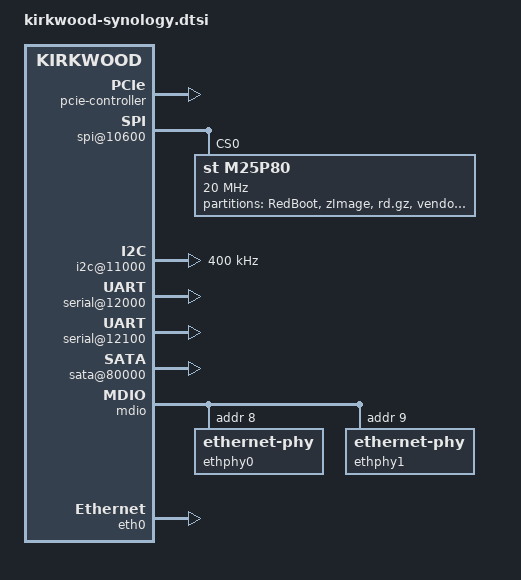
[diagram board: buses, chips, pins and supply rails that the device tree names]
/*
 * Nodes for Marvell 628x Synology devices
 *
 * Andrew Lunn <andrew@lunn.ch>
 * Ben Peddell <klightspeed@killerwolves.net>
 *
 * This file is licensed under the terms of the GNU General Public
 * License version 2.  This program is licensed "as is" without any
 * warranty of any kind, whether express or implied.
 */

/ {
	mbus {
		pcie-controller {
			status = "okay";

			pcie@1,0 {
				status = "okay";
			};

			pcie2: pcie@2,0 {
				status = "disabled";
			};
		};
	};

	ocp@f1000000 {
		pinctrl: pinctrl@10000 {
			pmx_alarmled_12: pmx-alarmled-12 {
				marvell,pins = "mpp12";
				marvell,function = "gpio";
			};

			pmx_fanctrl_15: pmx-fanctrl-15 {
				marvell,pins = "mpp15";
				marvell,function = "gpio";
			};

			pmx_fanctrl_16: pmx-fanctrl-16 {
				marvell,pins = "mpp16";
				marvell,function = "gpio";
			};

			pmx_fanctrl_17: pmx-fanctrl-17 {
				marvell,pins = "mpp17";
				marvell,function = "gpio";
			};

			pmx_fanalarm_18: pmx-fanalarm-18 {
				marvell,pins = "mpp18";
				marvell,function = "gpo";
			};

			pmx_hddled_20: pmx-hddled-20 {
				marvell,pins = "mpp20";
				marvell,function = "gpio";
			};

			pmx_hddled_21: pmx-hddled-21 {
				marvell,pins = "mpp21";
				marvell,function = "gpio";
			};

			pmx_hddled_22: pmx-hddled-22 {
				marvell,pins = "mpp22";
				marvell,function = "gpio";
			};

			pmx_hddled_23: pmx-hddled-23 {
				marvell,pins = "mpp23";
				marvell,function = "gpio";
			};

			pmx_hddled_24: pmx-hddled-24 {
				marvell,pins = "mpp24";
				marvell,function = "gpio";
			};

			pmx_hddled_25: pmx-hddled-25 {
				marvell,pins = "mpp25";
				marvell,function = "gpio";
			};

			pmx_hddled_26: pmx-hddled-26 {
				marvell,pins = "mpp26";
				marvell,function = "gpio";
			};

			pmx_hddled_27: pmx-hddled-27 {
				marvell,pins = "mpp27";
				marvell,function = "gpio";
			};

			pmx_hddled_28: pmx-hddled-28 {
				marvell,pins = "mpp28";
				marvell,function = "gpio";
			};

			pmx_hdd1_pwr_29: pmx-hdd1-pwr-29 {
				marvell,pins = "mpp29";
				marvell,function = "gpio";
			};

			pmx_hdd1_pwr_30: pmx-hdd-pwr-30 {
				marvell,pins = "mpp30";
				marvell,function = "gpio";
			};

			pmx_hdd2_pwr_31: pmx-hdd2-pwr-31 {
				marvell,pins = "mpp31";
				marvell,function = "gpio";
			};

			pmx_fanctrl_32: pmx-fanctrl-32 {
				marvell,pins = "mpp32";
				marvell,function = "gpio";
			};

			pmx_fanctrl_33: pmx-fanctrl-33 {
				marvell,pins = "mpp33";
				marvell,function = "gpo";
			};

			pmx_fanctrl_34: pmx-fanctrl-34 {
				marvell,pins = "mpp34";
				marvell,function = "gpio";
			};

			pmx_hdd2_pwr_34: pmx-hdd2-pwr-34 {
				marvell,pins = "mpp34";
				marvell,function = "gpio";
			};

			pmx_fanalarm_35: pmx-fanalarm-35 {
				marvell,pins = "mpp35";
				marvell,function = "gpio";
			};

			pmx_hddled_36: pmx-hddled-36 {
				marvell,pins = "mpp36";
				marvell,function = "gpio";
			};

			pmx_hddled_37: pmx-hddled-37 {
				marvell,pins = "mpp37";
				marvell,function = "gpio";
			};

			pmx_hddled_38: pmx-hddled-38 {
				marvell,pins = "mpp38";
				marvell,function = "gpio";
			};

			pmx_hddled_39: pmx-hddled-39 {
				marvell,pins = "mpp39";
				marvell,function = "gpio";
			};

			pmx_hddled_40: pmx-hddled-40 {
				marvell,pins = "mpp40";
				marvell,function = "gpio";
			};

			pmx_hddled_41: pmx-hddled-41 {
				marvell,pins = "mpp41";
				marvell,function = "gpio";
			};

			pmx_hddled_42: pmx-hddled-42 {
				marvell,pins = "mpp42";
				marvell,function = "gpio";
			};

			pmx_hddled_43: pmx-hddled-43 {
				marvell,pins = "mpp43";
				marvell,function = "gpio";
			};

			pmx_hddled_44: pmx-hddled-44 {
				marvell,pins = "mpp44";
				marvell,function = "gpio";
			};

			pmx_hddled_45: pmx-hddled-45 {
				marvell,pins = "mpp45";
				marvell,function = "gpio";
			};

			pmx_hdd3_pwr_44: pmx-hdd3-pwr-44 {
				marvell,pins = "mpp44";
				marvell,function = "gpio";
			};

			pmx_hdd4_pwr_45: pmx-hdd4-pwr-45 {
				marvell,pins = "mpp45";
				marvell,function = "gpio";
			};

			pmx_fanalarm_44: pmx-fanalarm-44 {
				marvell,pins = "mpp44";
				marvell,function = "gpio";
			};

			pmx_fanalarm_45: pmx-fanalarm-45 {
				marvell,pins = "mpp45";
				marvell,function = "gpio";
			};
		};

		rtc@10300 {
			status = "disabled";
		};

		spi@10600 {
			status = "okay";
			pinctrl-0 = <&pmx_spi>;
			pinctrl-names = "default";

			m25p80@0 {
				#address-cells = <1>;
				#size-cells = <1>;
				compatible = "st,m25p80";
				reg = <0>;
				spi-max-frequency = <20000000>;
				mode = <0>;

				partition@00000000 {
					reg = <0x00000000 0x00080000>;
					label = "RedBoot";
				};

				partition@00080000 {
					reg = <0x00080000 0x00200000>;
					label = "zImage";
				};

				partition@00280000 {
					reg = <0x00280000 0x00140000>;
					label = "rd.gz";
				};

				partition@003c0000 {
					reg = <0x003c0000 0x00010000>;
					label = "vendor";
				};

				partition@003d0000 {
					reg = <0x003d0000 0x00020000>;
					label = "RedBoot config";
				};

				partition@003f0000 {
					reg = <0x003f0000 0x00010000>;
					label = "FIS directory";
				};
			};
		};

		i2c@11000 {
			status = "okay";
			clock-frequency = <400000>;
			pinctrl-0 = <&pmx_twsi0>;
			pinctrl-names = "default";

			rs5c372: rs5c372@32 {
				status = "disabled";
				compatible = "ricoh,rs5c372";
				reg = <0x32>;
			};

			s35390a: s35390a@30 {
				status = "disabled";
				compatible = "ssi,s35390a";
				reg = <0x30>;
			};
		};

		serial@12000 {
			status = "okay";
			pinctrl-0 = <&pmx_uart0>;
			pinctrl-names = "default";
		};

		serial@12100 {
			status = "okay";
			pinctrl-0 = <&pmx_uart1>;
			pinctrl-names = "default";
		};

		poweroff@12100 {
			compatible = "synology,power-off";
			reg = <0x12100 0x100>;
			clocks = <&gate_clk 7>;
		};

		sata@80000 {
			pinctrl-0 = <&pmx_sata0 &pmx_sata1>;
			pinctrl-names = "default";
			status = "okay";
			nr-ports = <2>;
		};
	};

	gpio-fan-150-32-35 {
		status = "disabled";
		compatible = "gpio-fan";
		pinctrl-0 = <&pmx_fanctrl_32 &pmx_fanctrl_33 &pmx_fanctrl_34
		             &pmx_fanalarm_35>;
		pinctrl-names = "default";
		gpios = <&gpio1 0 GPIO_ACTIVE_HIGH
			 &gpio1 1 GPIO_ACTIVE_HIGH
			 &gpio1 2 GPIO_ACTIVE_HIGH>;
		gpio-fan,speed-map = <    0 0
				       2200 1
				       2500 2
				       3000 4
				       3300 3
				       3700 5
				       3800 6
				       4200 7 >;
	};

	gpio-fan-150-15-18 {
		status = "disabled";
		compatible = "gpio-fan";
		pinctrl-0 = <&pmx_fanctrl_15 &pmx_fanctrl_16 &pmx_fanctrl_17
		             &pmx_fanalarm_18>;
		pinctrl-names = "default";
		gpios = <&gpio0 15 GPIO_ACTIVE_HIGH
			 &gpio0 16 GPIO_ACTIVE_HIGH
			 &gpio0 17 GPIO_ACTIVE_HIGH>;
		alarm-gpios = <&gpio0 18 GPIO_ACTIVE_HIGH>;
		gpio-fan,speed-map = <    0 0
				       2200 1
				       2500 2
				       3000 4
				       3300 3
				       3700 5
				       3800 6
				       4200 7 >;
	};

	gpio-fan-100-32-35 {
		status = "disabled";
		compatible = "gpio-fan";
		pinctrl-0 = <&pmx_fanctrl_32 &pmx_fanctrl_33 &pmx_fanctrl_34
		             &pmx_fanalarm_35>;
		pinctrl-names = "default";
		gpios = <&gpio1 0 GPIO_ACTIVE_HIGH
			 &gpio1 1 GPIO_ACTIVE_HIGH
			 &gpio1 2 GPIO_ACTIVE_HIGH>;
		alarm-gpios = <&gpio1 3 GPIO_ACTIVE_HIGH>;
		gpio-fan,speed-map = <    0 0
				       2500 1
				       3100 2
				       3800 3
				       4600 4
				       4800 5
				       4900 6
				       5000 7 >;
	};

	gpio-fan-100-15-18 {
		status = "disabled";
		compatible = "gpio-fan";
		pinctrl-0 = <&pmx_fanctrl_15 &pmx_fanctrl_16 &pmx_fanctrl_17
		             &pmx_fanalarm_18>;
		pinctrl-names = "default";
		gpios = <&gpio0 15 GPIO_ACTIVE_HIGH
			 &gpio0 16 GPIO_ACTIVE_HIGH
			 &gpio0 17 GPIO_ACTIVE_HIGH>;
		alarm-gpios = <&gpio0 18 GPIO_ACTIVE_HIGH>;
		gpio-fan,speed-map = <    0 0
				       2500 1
				       3100 2
				       3800 3
				       4600 4
				       4800 5
				       4900 6
				       5000 7 >;
	};

	gpio-fan-100-15-35-1 {
		status = "disabled";
		compatible = "gpio-fan";
		pinctrl-0 = <&pmx_fanctrl_15 &pmx_fanctrl_16 &pmx_fanctrl_17
		             &pmx_fanalarm_35>;
		pinctrl-names = "default";
		gpios = <&gpio0 15 GPIO_ACTIVE_HIGH
			 &gpio0 16 GPIO_ACTIVE_HIGH
			 &gpio0 17 GPIO_ACTIVE_HIGH>;
		alarm-gpios = <&gpio1 3 GPIO_ACTIVE_HIGH>;
		gpio-fan,speed-map = <    0 0
				       2500 1
				       3100 2
				       3800 3
				       4600 4
				       4800 5
				       4900 6
				       5000 7 >;
	};

	gpio-fan-100-15-35-3 {
		status = "disabled";
		compatible = "gpio-fan";
		pinctrl-0 = <&pmx_fanctrl_15 &pmx_fanctrl_16 &pmx_fanctrl_17
		             &pmx_fanalarm_35 &pmx_fanalarm_44 &pmx_fanalarm_45>;
		pinctrl-names = "default";
		gpios = <&gpio0 15 GPIO_ACTIVE_HIGH
			 &gpio0 16 GPIO_ACTIVE_HIGH
			 &gpio0 17 GPIO_ACTIVE_HIGH>;
		alarm-gpios = <&gpio1 3 GPIO_ACTIVE_HIGH
			       &gpio1 12 GPIO_ACTIVE_HIGH
			       &gpio1 13 GPIO_ACTIVE_HIGH>;
		gpio-fan,speed-map = <    0 0
				       2500 1
				       3100 2
				       3800 3
				       4600 4
				       4800 5
				       4900 6
				       5000 7 >;
	};

	gpio-leds-alarm-12 {
		status = "disabled";
		compatible = "gpio-leds";
		pinctrl-0 = <&pmx_alarmled_12>;
		pinctrl-names = "default";

		hdd1-green {
			label = "synology:alarm";
			gpios = <&gpio0 21 GPIO_ACTIVE_LOW>;
		};
	};

	gpio-leds-hdd-20 {
		status = "disabled";
		compatible = "gpio-leds";
		pinctrl-0 = <&pmx_hddled_20 &pmx_hddled_21 &pmx_hddled_22
			     &pmx_hddled_23 &pmx_hddled_24 &pmx_hddled_25
			     &pmx_hddled_26 &pmx_hddled_27>;
		pinctrl-names = "default";

		hdd1-green {
			label = "synology:green:hdd1";
			gpios = <&gpio0 20 GPIO_ACTIVE_LOW>;
		};

		hdd1-amber {
			label = "synology:amber:hdd1";
			gpios = <&gpio0 21 GPIO_ACTIVE_LOW>;
		};

		hdd2-green {
			label = "synology:green:hdd2";
			gpios = <&gpio0 22 GPIO_ACTIVE_LOW>;
		};

		hdd2-amber {
			label = "synology:amber:hdd2";
			gpios = <&gpio0 23 GPIO_ACTIVE_LOW>;
		};

		hdd3-green {
			label = "synology:green:hdd3";
			gpios = <&gpio0 24 GPIO_ACTIVE_LOW>;
		};

		hdd3-amber {
			label = "synology:amber:hdd3";
			gpios = <&gpio0 25 GPIO_ACTIVE_LOW>;
		};

		hdd4-green {
			label = "synology:green:hdd4";
			gpios = <&gpio0 26 GPIO_ACTIVE_LOW>;
		};

		hdd4-amber {
			label = "synology:amber:hdd4";
			gpios = <&gpio0 27 GPIO_ACTIVE_LOW>;
		};
	};

	gpio-leds-hdd-21-1 {
		status = "disabled";
		compatible = "gpio-leds";
		pinctrl-0 = <&pmx_hddled_21 &pmx_hddled_23>;
		pinctrl-names = "default";

		hdd1-green {
			label = "synology:green:hdd1";
			gpios = <&gpio0 21 GPIO_ACTIVE_LOW>;
		};

		hdd1-amber {
			label = "synology:amber:hdd1";
			gpios = <&gpio0 23 GPIO_ACTIVE_LOW>;
		};
	};

	gpio-leds-hdd-21-2 {
		status = "disabled";
		compatible = "gpio-leds";
		pinctrl-0 = <&pmx_hddled_21 &pmx_hddled_23 &pmx_hddled_20 &pmx_hddled_22>;
		pinctrl-names = "default";

		hdd1-green {
			label = "synology:green:hdd1";
			gpios = <&gpio0 21 GPIO_ACTIVE_LOW>;
		};

		hdd1-amber {
			label = "synology:amber:hdd1";
			gpios = <&gpio0 23 GPIO_ACTIVE_LOW>;
		};

		hdd2-green {
			label = "synology:green:hdd2";
			gpios = <&gpio0 20 GPIO_ACTIVE_LOW>;
		};

		hdd2-amber {
			label = "synology:amber:hdd2";
			gpios = <&gpio0 22 GPIO_ACTIVE_LOW>;
		};
	};

	gpio-leds-hdd-36 {
		status = "disabled";
		compatible = "gpio-leds";
		pinctrl-0 = <&pmx_hddled_36 &pmx_hddled_37 &pmx_hddled_38
			     &pmx_hddled_39 &pmx_hddled_40 &pmx_hddled_41
			     &pmx_hddled_42 &pmx_hddled_43 &pmx_hddled_44
			     &pmx_hddled_45>;
		pinctrl-names = "default";

		hdd1-green {
			label = "synology:green:hdd1";
			gpios = <&gpio1 4 GPIO_ACTIVE_LOW>;
		};

		hdd1-amber {
			label = "synology:amber:hdd1";
			gpios = <&gpio1 5 GPIO_ACTIVE_LOW>;
		};

		hdd2-green {
			label = "synology:green:hdd2";
			gpios = <&gpio1 6 GPIO_ACTIVE_LOW>;
		};

		hdd2-amber {
			label = "synology:amber:hdd2";
			gpios = <&gpio1 7 GPIO_ACTIVE_LOW>;
		};

		hdd3-green {
			label = "synology:green:hdd3";
			gpios = <&gpio1 8 GPIO_ACTIVE_LOW>;
		};

		hdd3-amber {
			label = "synology:amber:hdd3";
			gpios = <&gpio1 9 GPIO_ACTIVE_LOW>;
		};

		hdd4-green {
			label = "synology:green:hdd4";
			gpios = <&gpio1 10 GPIO_ACTIVE_LOW>;
		};

		hdd4-amber {
			label = "synology:amber:hdd4";
			gpios = <&gpio1 11 GPIO_ACTIVE_LOW>;
		};

		hdd5-green {
			label = "synology:green:hdd5";
			gpios = <&gpio1 12 GPIO_ACTIVE_LOW>;
		};

		hdd5-amber {
			label = "synology:amber:hdd5";
			gpios = <&gpio1 13 GPIO_ACTIVE_LOW>;
		};
	};

	gpio-leds-hdd-38 {
		status = "disabled";
		compatible = "gpio-leds";
		pinctrl-0 = <&pmx_hddled_38 &pmx_hddled_39 &pmx_hddled_36 &pmx_hddled_37>;
		pinctrl-names = "default";

		hdd1-green {
			label = "synology:green:hdd1";
			gpios = <&gpio1 6 GPIO_ACTIVE_LOW>;
		};

		hdd1-amber {
			label = "synology:amber:hdd1";
			gpios = <&gpio1 7 GPIO_ACTIVE_LOW>;
		};

		hdd2-green {
			label = "synology:green:hdd2";
			gpios = <&gpio1 4 GPIO_ACTIVE_LOW>;
		};

		hdd2-amber {
			label = "synology:amber:hdd2";
			gpios = <&gpio1 5 GPIO_ACTIVE_LOW>;
		};
	};

	regulators-hdd-29 {
		status = "disabled";
		compatible = "simple-bus";
		#address-cells = <1>;
		#size-cells = <0>;
		pinctrl-0 = <&pmx_hdd1_pwr_29 &pmx_hdd2_pwr_31>;
		pinctrl-names = "default";

		regulator@1 {
			compatible = "regulator-fixed";
			reg = <1>;
			regulator-name = "hdd1power";
			regulator-min-microvolt = <5000000>;
			regulator-max-microvolt = <5000000>;
			enable-active-high;
			regulator-always-on;
			regulator-boot-on;
			startup-delay-us = <5000000>;
			gpio = <&gpio0 29 GPIO_ACTIVE_HIGH>;
		};

		regulator@2 {
			compatible = "regulator-fixed";
			reg = <2>;
			regulator-name = "hdd2power";
			regulator-min-microvolt = <5000000>;
			regulator-max-microvolt = <5000000>;
			enable-active-high;
			regulator-always-on;
			regulator-boot-on;
			startup-delay-us = <5000000>;
			gpio = <&gpio0 31 GPIO_ACTIVE_HIGH>;
		};
	};

	regulators-hdd-30-1 {
		status = "disabled";
		compatible = "simple-bus";
		#address-cells = <1>;
		#size-cells = <0>;
		pinctrl-0 = <&pmx_hdd1_pwr_30>;
		pinctrl-names = "default";

		regulator@1 {
			compatible = "regulator-fixed";
			reg = <1>;
			regulator-name = "hdd1power";
			regulator-min-microvolt = <5000000>;
			regulator-max-microvolt = <5000000>;
			enable-active-high;
			regulator-always-on;
			regulator-boot-on;
			startup-delay-us = <5000000>;
			gpio = <&gpio0 30 GPIO_ACTIVE_HIGH>;
		};
	};

	regulators-hdd-30-2 {
		status = "disabled";
		compatible = "simple-bus";
		#address-cells = <1>;
		#size-cells = <0>;
		pinctrl-0 = <&pmx_hdd1_pwr_30 &pmx_hdd2_pwr_34>;
		pinctrl-names = "default";

		regulator@1 {
			compatible = "regulator-fixed";
			reg = <1>;
			regulator-name = "hdd1power";
			regulator-min-microvolt = <5000000>;
			regulator-max-microvolt = <5000000>;
			enable-active-high;
			regulator-always-on;
			regulator-boot-on;
			startup-delay-us = <5000000>;
			gpio = <&gpio0 30 GPIO_ACTIVE_HIGH>;
		};

		regulator@2 {
			compatible = "regulator-fixed";
			reg = <2>;
			regulator-name = "hdd2power";
			regulator-min-microvolt = <5000000>;
			regulator-max-microvolt = <5000000>;
			enable-active-high;
			regulator-always-on;
			regulator-boot-on;
			startup-delay-us = <5000000>;
			gpio = <&gpio1 2 GPIO_ACTIVE_HIGH>;
		};
	};

	regulators-hdd-30-4 {
		status = "disabled";
		compatible = "simple-bus";
		#address-cells = <1>;
		#size-cells = <0>;
		pinctrl-0 = <&pmx_hdd1_pwr_30 &pmx_hdd2_pwr_34
			     &pmx_hdd3_pwr_44 &pmx_hdd4_pwr_45>;
		pinctrl-names = "default";

		regulator@1 {
			compatible = "regulator-fixed";
			reg = <1>;
			regulator-name = "hdd1power";
			regulator-min-microvolt = <5000000>;
			regulator-max-microvolt = <5000000>;
			enable-active-high;
			regulator-always-on;
			regulator-boot-on;
			startup-delay-us = <5000000>;
			gpio = <&gpio0 30 GPIO_ACTIVE_HIGH>;
		};

		regulator@2 {
			compatible = "regulator-fixed";
			reg = <2>;
			regulator-name = "hdd2power";
			regulator-min-microvolt = <5000000>;
			regulator-max-microvolt = <5000000>;
			enable-active-high;
			regulator-always-on;
			regulator-boot-on;
			startup-delay-us = <5000000>;
			gpio = <&gpio1 2 GPIO_ACTIVE_HIGH>;
		};

		regulator@3 {
			compatible = "regulator-fixed";
			reg = <3>;
			regulator-name = "hdd3power";
			regulator-min-microvolt = <5000000>;
			regulator-max-microvolt = <5000000>;
			enable-active-high;
			regulator-always-on;
			regulator-boot-on;
			startup-delay-us = <5000000>;
			gpio = <&gpio1 12 GPIO_ACTIVE_HIGH>;
		};

		regulator@4 {
			compatible = "regulator-fixed";
			reg = <4>;
			regulator-name = "hdd4power";
			regulator-min-microvolt = <5000000>;
			regulator-max-microvolt = <5000000>;
			enable-active-high;
			regulator-always-on;
			regulator-boot-on;
			startup-delay-us = <5000000>;
			gpio = <&gpio1 13 GPIO_ACTIVE_HIGH>;
		};
	};

	regulators-hdd-31 {
		status = "disabled";
		compatible = "simple-bus";
		#address-cells = <1>;
		#size-cells = <0>;
		pinctrl-0 = <&pmx_hdd2_pwr_31>;
		pinctrl-names = "default";

		regulator@1 {
			compatible = "regulator-fixed";
			reg = <1>;
			regulator-name = "hdd2power";
			regulator-min-microvolt = <5000000>;
			regulator-max-microvolt = <5000000>;
			enable-active-high;
			regulator-always-on;
			regulator-boot-on;
			startup-delay-us = <5000000>;
			gpio = <&gpio0 31 GPIO_ACTIVE_HIGH>;
		};
	};

	regulators-hdd-34 {
		status = "disabled";
		compatible = "simple-bus";
		#address-cells = <1>;
		#size-cells = <0>;
		pinctrl-0 = <&pmx_hdd2_pwr_34 &pmx_hdd3_pwr_44
			     &pmx_hdd4_pwr_45>;
		pinctrl-names = "default";

		regulator@2 {
			compatible = "regulator-fixed";
			reg = <2>;
			regulator-name = "hdd2power";
			regulator-min-microvolt = <5000000>;
			regulator-max-microvolt = <5000000>;
			enable-active-high;
			regulator-always-on;
			regulator-boot-on;
			startup-delay-us = <5000000>;
			gpio = <&gpio1 2 GPIO_ACTIVE_HIGH>;
		};

		regulator@3 {
			compatible = "regulator-fixed";
			reg = <3>;
			regulator-name = "hdd3power";
			regulator-min-microvolt = <5000000>;
			regulator-max-microvolt = <5000000>;
			enable-active-high;
			regulator-always-on;
			regulator-boot-on;
			startup-delay-us = <5000000>;
			gpio = <&gpio1 12 GPIO_ACTIVE_HIGH>;
		};

		regulator@4 {
			compatible = "regulator-fixed";
			reg = <4>;
			regulator-name = "hdd4power";
			regulator-min-microvolt = <5000000>;
			regulator-max-microvolt = <5000000>;
			enable-active-high;
			regulator-always-on;
			regulator-boot-on;
			startup-delay-us = <5000000>;
			gpio = <&gpio1 13 GPIO_ACTIVE_HIGH>;
		};
	};
};

&mdio {
	status = "okay";

	ethphy0: ethernet-phy@0 {
		device_type = "ethernet-phy";
		reg = <8>;
	};

	ethphy1: ethernet-phy@1 {
		device_type = "ethernet-phy";
		reg = <9>;
	};
};

&eth0 {
	status = "okay";

	ethernet0-port@0 {
		phy-handle = <&ethphy0>;
	};
};

&eth1 {
	status = "disabled";

	ethernet1-port@0 {
		phy-handle = <&ethphy1>;
	};
};
